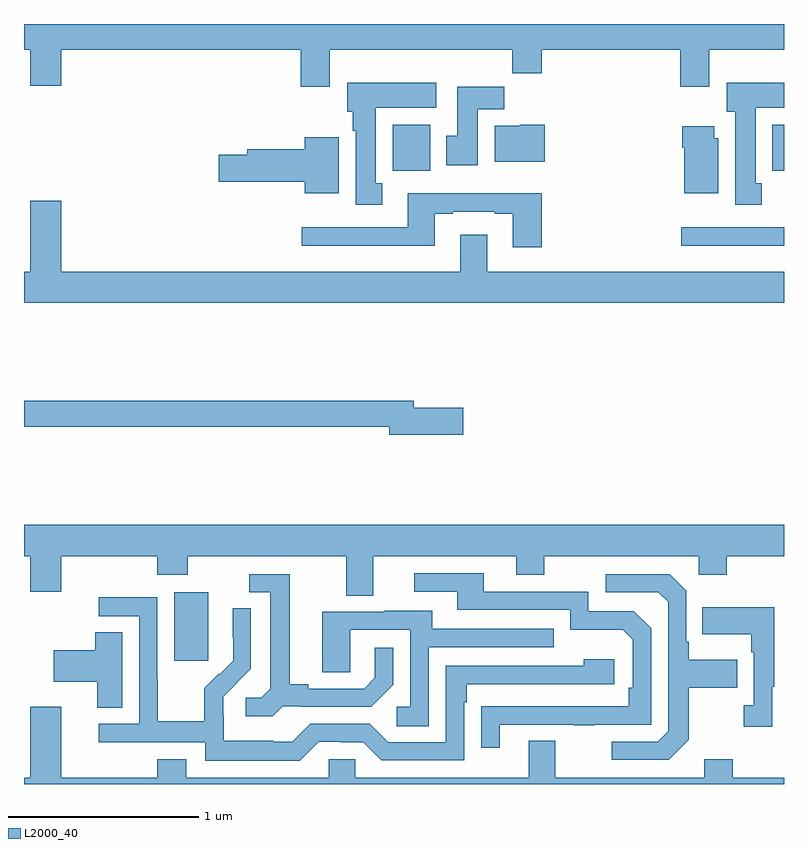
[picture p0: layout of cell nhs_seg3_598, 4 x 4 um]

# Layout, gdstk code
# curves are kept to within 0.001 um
import gdstk
lib = gdstk.Library(unit=1e-6, precision=1e-09)
def R(c, l, rs):  # rectangles x0, y0, x1, y1
    for r in rs: c.add(gdstk.rectangle(r[:2], r[2:], *l))
def P(c, l, *ps):  # polygons
    for p in ps: c.add(gdstk.Polygon(p, *l))
L2000_40 = (2000, 40)

nhs_seg3_598 = lib.new_cell('nhs_seg3_598')
R(nhs_seg3_598, L2000_40, [(141.791,683.049,141.97,683.41), (144.459,685.232,145,685.329), (142.94,685.628,143.137,685.87), (144.938,685.628,145,685.87)])
P(nhs_seg3_598, L2000_40, [(142.609,686.264),(143.569,686.264),(143.569,686.14),(143.726,686.14),(143.726,686.264),(144.455,686.264),(144.455,686.07),(144.607,686.07),(144.607,686.264),(145,686.264),(145,686.4),(141,686.4),(141,686.264),(141.032,686.264),(141.032,686.076),(141.196,686.076),(141.196,686.264),(142.457,686.264),(142.457,686.07),(142.609,686.07)],
  [(144.883,685.562),(144.85,685.562),(144.85,685.958),(145,685.958),(145,686.092),(144.698,686.092),(144.698,685.938),(144.743,685.938),(144.743,685.449),(144.883,685.449)],
  [(142.885,685.562),(142.852,685.562),(142.852,685.958),(143.17,685.958),(143.17,686.092),(142.7,686.092),(142.7,685.938),(142.73,685.938),(142.73,685.838),(142.745,685.838),(142.745,685.449),(142.885,685.449)],
  [(143.389,685.952),(143.528,685.952),(143.528,686.071),(143.279,686.071),(143.279,685.812),(143.222,685.812),(143.222,685.656),(143.389,685.656)],
  [(143.741,685.87),(143.61,685.87),(143.61,685.864),(143.477,685.864),(143.477,685.676),(143.741,685.676)],
  [(144.655,685.8),(144.634,685.8),(144.634,685.861),(144.464,685.861),(144.464,685.748),(144.476,685.748),(144.476,685.508),(144.655,685.508)],
  [(142.657,685.804),(142.478,685.804),(142.478,685.742),(142.175,685.742),(142.175,685.712),(142.026,685.712),(142.026,685.57),(142.478,685.57),(142.478,685.508),(142.657,685.508)],
  [(143.726,685.51),(143.021,685.51),(143.021,685.329),(142.461,685.329),(142.461,685.232),(143.161,685.232),(143.161,685.401),(143.257,685.401),(143.257,685.413),(143.477,685.413),(143.477,685.401),(143.573,685.401),(143.573,685.224),(143.726,685.224)],
  [(145,685.096),(143.437,685.096),(143.437,685.291),(143.297,685.291),(143.297,685.096),(141.196,685.096),(141.196,685.471),(141.032,685.471),(141.032,685.096),(141,685.096),(141,684.932),(145,684.932)],
  [(143.311,684.38),(143.05,684.38),(143.05,684.416),(141,684.416),(141,684.28),(142.922,684.28),(142.922,684.238),(143.311,684.238)],
  [(142.837,683.6),(143.591,683.6),(143.591,683.501),(143.739,683.501),(143.739,683.6),(144.552,683.6),(144.552,683.501),(144.699,683.501),(144.699,683.6),(145,683.6),(145,683.764),(141,683.764),(141,683.6),(141.032,683.6),(141.032,683.412),(141.196,683.412),(141.196,683.6),(141.701,683.6),(141.701,683.501),(141.861,683.501),(141.861,683.6),(142.697,683.6),(142.697,683.392),(142.837,683.392)],
  [(143.503,682.713),(143.893,682.713),(143.893,682.708),(144.005,682.708),(144.005,682.713),(144.3,682.713),(144.3,683.22),(144.21,683.31),(143.97,683.31),(143.97,683.412),(143.419,683.412),(143.419,683.508),(143.055,683.508),(143.055,683.412),(143.279,683.412),(143.279,683.316),(143.874,683.316),(143.874,683.213),(144.151,683.213),(144.204,683.16),(144.204,682.906),(144.184,682.906),(144.184,682.809),(143.407,682.808),(143.407,682.59),(143.503,682.59)],
  [(142.362,682.809),(142.456,682.809),(142.456,682.806),(142.828,682.806),(142.944,682.922),(142.944,683.116),(142.847,683.116),(142.847,682.959),(142.79,682.902),(142.495,682.902),(142.495,682.925),(142.399,682.925),(142.399,683.505),(142.185,683.505),(142.185,683.409),(142.295,683.409),(142.295,682.901),(142.248,682.854),(142.167,682.854),(142.167,682.757),(142.31,682.757)],
  [(144.499,682.633),(144.499,682.906),(144.755,682.906),(144.755,683.053),(144.499,683.053),(144.499,683.149),(144.486,683.149),(144.486,683.418),(144.399,683.505),(144.063,683.505),(144.063,683.409),(144.339,683.409),(144.39,683.358),(144.39,682.677),(144.336,682.623),(144.093,682.623),(144.093,682.527),(144.393,682.527)],
  [(142.551,682.623),(142.667,682.623),(142.667,682.62),(142.785,682.62),(142.881,682.524),(143.316,682.524),(143.316,682.829),(143.329,682.829),(143.329,682.926),(144.106,682.926),(144.106,683.056),(143.945,683.056),(143.945,683.022),(143.22,683.022),(143.22,682.62),(142.917,682.62),(142.821,682.716),(142.506,682.716),(142.413,682.623),(142.313,682.623),(142.313,682.627),(142.05,682.627),(142.05,682.761),(142.048,682.761),(142.048,682.858),(142.194,683.006),(142.194,683.324),(142.098,683.324),(142.098,683.17),(142.1,683.17),(142.1,683.048),(142.029,682.977),(142.026,682.98),(141.949,682.903),(141.949,682.729),(141.705,682.729),(141.705,682.952),(141.702,682.952),(141.702,683.382),(141.393,683.382),(141.393,683.283),(141.606,683.283),(141.606,682.716),(141.393,682.716),(141.393,682.62),(141.954,682.62),(141.954,682.523),(142.451,682.523)],
  [(144.937,682.913),(144.949,682.913),(144.949,683.329),(144.571,683.329),(144.571,683.189),(144.828,683.189),(144.828,683.093),(144.84,683.093),(144.84,682.814),(144.789,682.814),(144.789,682.701),(144.937,682.701)],
  [(143.13,683.121),(143.789,683.121),(143.789,683.217),(143.149,683.217),(143.149,683.311),(142.895,683.311),(142.895,683.307),(142.571,683.307),(142.571,682.987),(142.716,682.987),(142.716,683.211),(143.034,683.211),(143.034,682.806),(142.962,682.806),(142.962,682.705),(143.13,682.705)],
  [(141.517,683.198),(141.374,683.198),(141.374,683.103),(141.156,683.103),(141.156,682.937),(141.386,682.937),(141.386,682.801),(141.517,682.801)],
  [(145,682.432),(144.729,682.432),(144.729,682.531),(144.581,682.531),(144.581,682.432),(143.797,682.432),(143.797,682.627),(143.657,682.627),(143.657,682.432),(142.743,682.432),(142.743,682.53),(142.605,682.53),(142.605,682.432),(141.853,682.432),(141.853,682.531),(141.701,682.531),(141.701,682.432),(141.196,682.432),(141.196,682.807),(141.032,682.807),(141.032,682.432),(141,682.432),(141,682.4),(145,682.4)])

lib.write_gds('nhs_seg3_598.gds')
